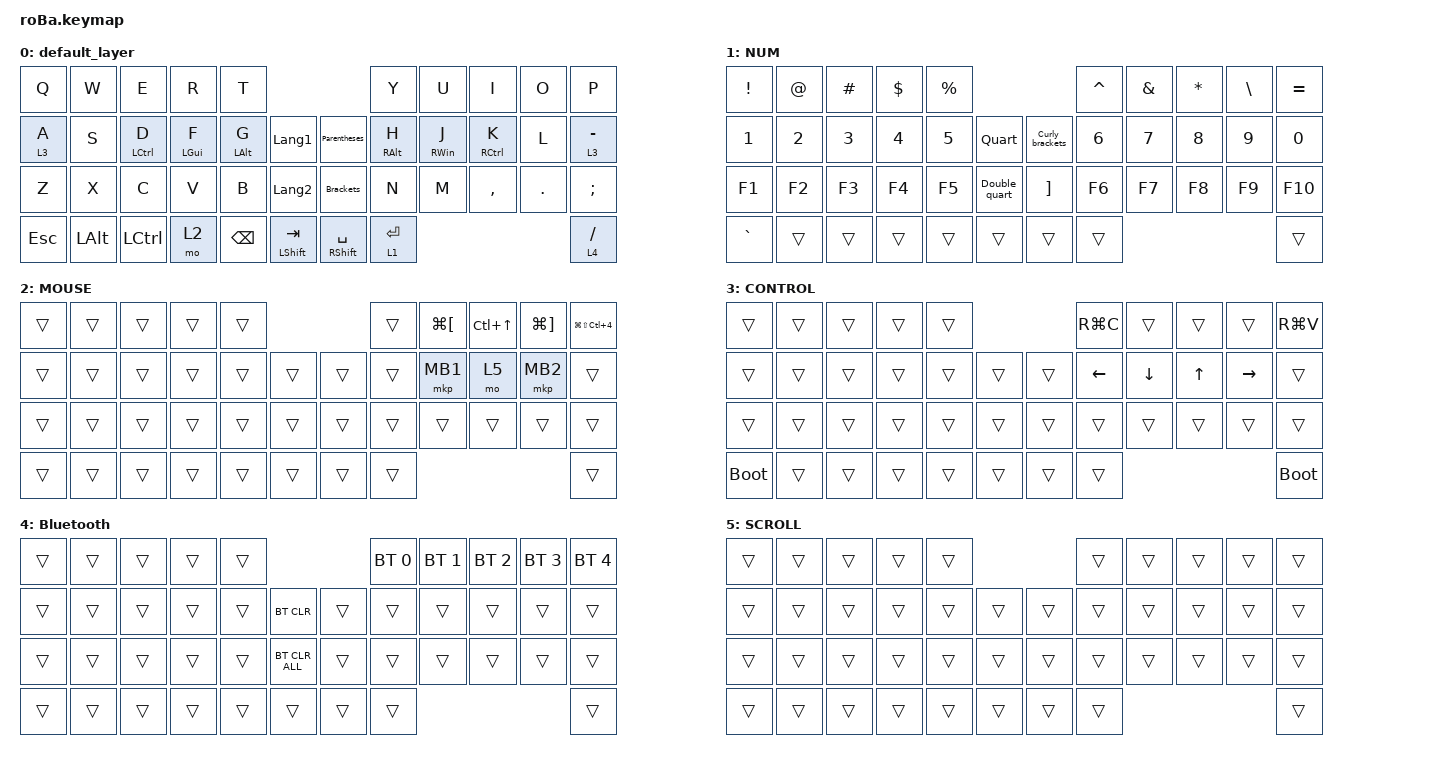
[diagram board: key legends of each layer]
#include <behaviors.dtsi>
#include <dt-bindings/zmk/bt.h>
#include <dt-bindings/zmk/keys.h>
#include <dt-bindings/zmk/pointing.h>

#define MOUSE 4
#define SCROLL 5
#define NUM 6

/ {
    combos {
        compatible = "zmk,combos";

        L_CLK {
            bindings = <&mkp LCLK>;
            key-positions = <18 19>;
        };

        R_CKL {
            bindings = <&mkp RCLK>;
            key-positions = <19 20>;
        };

        SCRL {
            bindings = <&mo 5>;
            key-positions = <18 19 20>;
        };
    };

    macros {
        Parentheses: Parentheses {
            compatible = "zmk,behavior-macro";
            #binding-cells = <0>;
            bindings = <&kp LPAR &kp RPAR &kp ENTER &kp LEFT_ARROW>;
            label = "PARENTHESES";
        };

        Brackets: Brackets {
            compatible = "zmk,behavior-macro";
            #binding-cells = <0>;
            bindings = <&kp LBKT &kp RBKT &kp ENTER &kp LEFT_ARROW>;
            label = "BRACKETS";
        };

        Curly_brackets: Curly_brackets {
            compatible = "zmk,behavior-macro";
            #binding-cells = <0>;
            bindings = <&kp LBRC &kp RBRC &kp ENTER &kp LEFT_ARROW>;
            label = "CURLY_BRACKETS";
        };

        Quart: Quart {
            compatible = "zmk,behavior-macro";
            #binding-cells = <0>;
            bindings = <&kp SQT &kp SQT &kp ENTER &kp LEFT_ARROW>;
            label = "QUART";
        };

        Double_quart: Double_quart {
            compatible = "zmk,behavior-macro";
            #binding-cells = <0>;
            bindings = <&kp DQT &kp DQT &kp ENTER &kp LEFT>;
            label = "DOUBLE_QUART";
        };
    };

    behaviors {
        mt_d: mt_d {
            compatible = "zmk,behavior-hold-tap";
            label = "MT_D";
            bindings = <&kp>, <&kp>;

            #binding-cells = <2>;
            flavor = "balanced";
            quick-tap-ms = <175>;
            tapping-term-ms = <280>;
            require-prior-idle-ms = <150>;
        };
    };

    keymap {
        compatible = "zmk,keymap";

        default_layer {
            bindings = <
&kp Q    &kp W         &kp E             &kp R             &kp T                                                              &kp Y              &kp U              &kp I          &kp O    &kp P
&lt 3 A  &kp S         &mt_d LCTRL D     &mt_d LEFT_GUI F  &mt_d LEFT_ALT G  &kp LANGUAGE_1            &Parentheses           &mt_d RIGHT_ALT H  &mt_d RIGHT_WIN J  &mt_d RCTRL K  &kp L    &lt 3 MINUS
&kp Z    &kp X         &kp C             &kp V             &kp B             &kp LANGUAGE_2            &Brackets              &kp N              &kp M              &kp COMMA      &kp DOT  &kp SEMICOLON
&kp ESC  &kp LEFT_ALT  &kp LEFT_CONTROL  &mo 2             &kp BACKSPACE     &mt_d LEFT_SHIFT TAB      &mt RIGHT_SHIFT SPACE  &lt 1 ENTER                                                   &lt 4 SLASH
            >;
        };

        NUM {
            bindings = <
&kp EXCLAMATION  &kp AT_SIGN   &kp HASH      &kp DOLLAR    &kp PERCENT                                        &kp CARET     &kp AMPERSAND  &kp ASTERISK  &kp BACKSLASH  &kp EQUAL
&kp NUMBER_1     &kp NUMBER_2  &kp NUMBER_3  &kp NUMBER_4  &kp N5       &Quart             &Curly_brackets    &kp NUMBER_6  &kp N7         &kp N8        &kp N9         &kp N0
&kp F1           &kp F2        &kp F3        &kp F4        &kp F5       &Double_quart      &kp RIGHT_BRACKET  &kp F6        &kp F7         &kp F8        &kp F9         &kp F10
&kp GRAVE        &trans        &trans        &trans        &trans       &trans             &trans             &trans                                                    &trans
            >;
        };

        MOUSE {
            bindings = <
&trans  &trans  &trans  &trans  &trans                      &trans  &kp LG(LBKT)  &kp LC(UP)  &kp LG(RBKT)  &kp LG(LS(LC(NUMBER_4)))
&trans  &trans  &trans  &trans  &trans  &trans      &trans  &trans  &mkp MB1      &mo 5       &mkp MB2      &trans
&trans  &trans  &trans  &trans  &trans  &trans      &trans  &trans  &trans        &trans      &trans        &trans
&trans  &trans  &trans  &trans  &trans  &trans      &trans  &trans                                          &trans
            >;
        };

        CONTROL {
            bindings = <
&trans       &trans  &trans  &trans  &trans                      &kp RG(C)  &trans    &trans  &trans     &kp RG(V)
&trans       &trans  &trans  &trans  &trans  &trans      &trans  &kp LEFT   &kp DOWN  &kp UP  &kp RIGHT  &trans
&trans       &trans  &trans  &trans  &trans  &trans      &trans  &trans     &trans    &trans  &trans     &trans
&bootloader  &trans  &trans  &trans  &trans  &trans      &trans  &trans                                  &bootloader
            >;
        };

        Bluetooth {
            bindings = <
&trans  &trans  &trans  &trans  &trans                              &bt BT_SEL 0  &bt BT_SEL 1  &bt BT_SEL 2  &bt BT_SEL 3  &bt BT_SEL 4
&trans  &trans  &trans  &trans  &trans  &bt BT_CLR          &trans  &trans        &trans        &trans        &trans        &trans
&trans  &trans  &trans  &trans  &trans  &bt BT_CLR_ALL      &trans  &trans        &trans        &trans        &trans        &trans
&trans  &trans  &trans  &trans  &trans  &trans              &trans  &trans                                                  &trans
            >;
        };

        SCROLL {
            bindings = <
&trans  &trans  &trans  &trans  &trans                      &trans  &trans  &trans  &trans  &trans
&trans  &trans  &trans  &trans  &trans  &trans      &trans  &trans  &trans  &trans  &trans  &trans
&trans  &trans  &trans  &trans  &trans  &trans      &trans  &trans  &trans  &trans  &trans  &trans
&trans  &trans  &trans  &trans  &trans  &trans      &trans  &trans                          &trans
            >;
        };
    };
};
